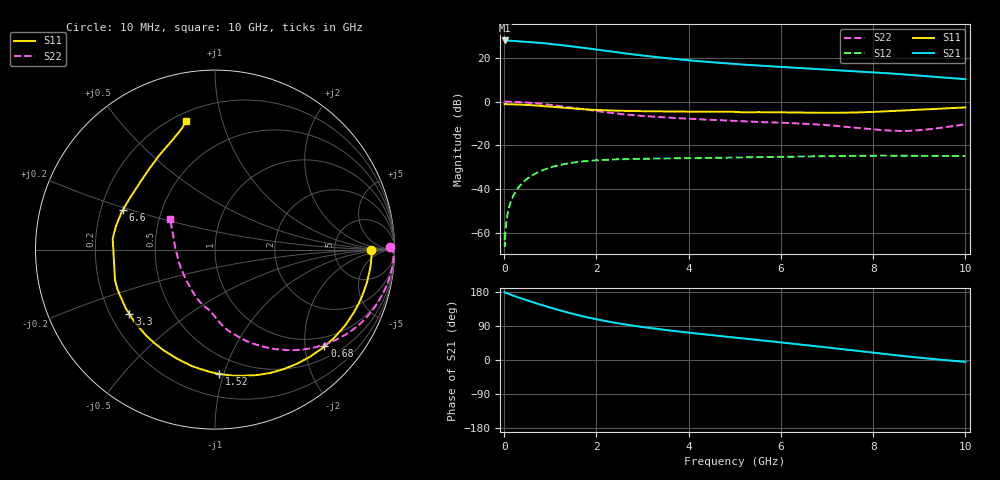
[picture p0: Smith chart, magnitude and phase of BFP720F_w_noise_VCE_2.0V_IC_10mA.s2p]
! Infineon Technologies  Discrete & RF Semiconductors
! BFP720F
! VCE =  2.0 V,  IC =  10 mA
! Common Emitter S-Parameters:  Jan 2016
# GHz  S  MA  R  50
!  f  S11  S21  S12  S22
! GHz  MAG  ANG  MAG  ANG  MAG  ANG  MAG  ANG
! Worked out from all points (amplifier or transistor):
!   233 points, 10 MHz to 10 GHz, reference 50 ohm
!   highest |S21| = 27.9 dB at 10 MHz (marker M1)
!   |S21| within 3 dB of that: start of sweep to 1.589 GHz
!   unconditionally stable (mu >= 1): start of sweep to 15.15 MHz; 6.785 GHz to end of sweep
!   at 200 MHz: K = 0.06, MSG = 35.3 dB, |S12| = -43.0 dB
!   at 1.74 GHz: K = 0.30, MSG = 25.9 dB, |S12| = -27.3 dB
!   at 10 GHz: K = 1.28, MAG = 14.4 dB, |S12| = -24.9 dB
!   lowest NFmin = 0.55 dB at 450 MHz
!   S11 on the Smith chart (normalised r, x): 10 MHz: 14, +0; 680 MHz: 0.76, -2.43; 1.52 GHz: 0.36, -0.97; 3.3 GHz: 0.28, -0.31; 6.6 GHz: 0.29, +0.19; 10 GHz: 0.25, +0.77
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0.01  0.8673 0.0  24.79 179.5  0.001 -14.3  0.9773 1.0
0.02  0.8742 -1.1  24.57 177.4  0.0007 95.4  0.9963 -1.2
0.05  0.8728 -3.1  24.77 177.0  0.0019 87.7  0.9953 -1.9
0.1  0.8715 -6.2  24.66 174.5  0.0036 87.0  0.9953 -3.9
0.28  0.8593 -17.4  23.85 166.2  0.0099 80.2  0.9788 -11.0
0.68  0.8137 -41.5  22.16 150.3  0.0228 66.5  0.9146 -25.9
0.86  0.787 -52.3  21.42 143.3  0.0278 60.9  0.8747 -32.0
1.06  0.758 -63.6  20.35 136.1  0.0326 54.9  0.8257 -38.6
1.3  0.7225 -76.7  19.07 127.9  0.0373 48.4  0.7648 -46.0
1.52  0.6925 -88.0  17.89 120.9  0.0407 43.1  0.7098 -52.1
1.68  0.673 -95.8  17.05 116.1  0.0427 39.7  0.6717 -56.2
2.02  0.6417 -109.9  15.26 107.0  0.0457 33.4  0.6009 -63.9
2.4  0.621 -123.0  13.47 98.3  0.0478 27.6  0.5381 -71.1
2.8  0.6061 -133.6  11.89 90.4  0.0489 23.4  0.4879 -76.7
3.3  0.5967 -143.1  10.37 82.4  0.05 19.5  0.4476 -81.8
3.4  0.5957 -144.8  10.09 80.8  0.0501 18.8  0.4404 -82.7
4  0.5887 -153.1  8.732 71.9  0.051 15.5  0.4042 -86.6
5.1  0.573 -167.6  7.083 57.9  0.0529 11.5  0.3576 -92.2
6.6  0.5584 156.7  5.684 38.5  0.056 6.8  0.308 -104.7
6.8  0.5553 153.1  5.524 35.8  0.0563 6.1  0.2988 -107.3
8.4  0.6068 121.4  4.366 13.8  0.0583 -0.2  0.2164 -151.3
10  0.7338 102.5  3.243 -4.9  0.057 -4.0  0.3028 145.8
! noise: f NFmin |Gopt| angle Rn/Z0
0.45  0.55  0.3  3  0.33
0.9  0.58  0.27  8  0.12
1.8  0.62  0.25  13  0.15
2.4  0.65  0.22  23  0.14
5.5  0.8  0.2  43  0.09
10  1  0.28  -91  0.17
